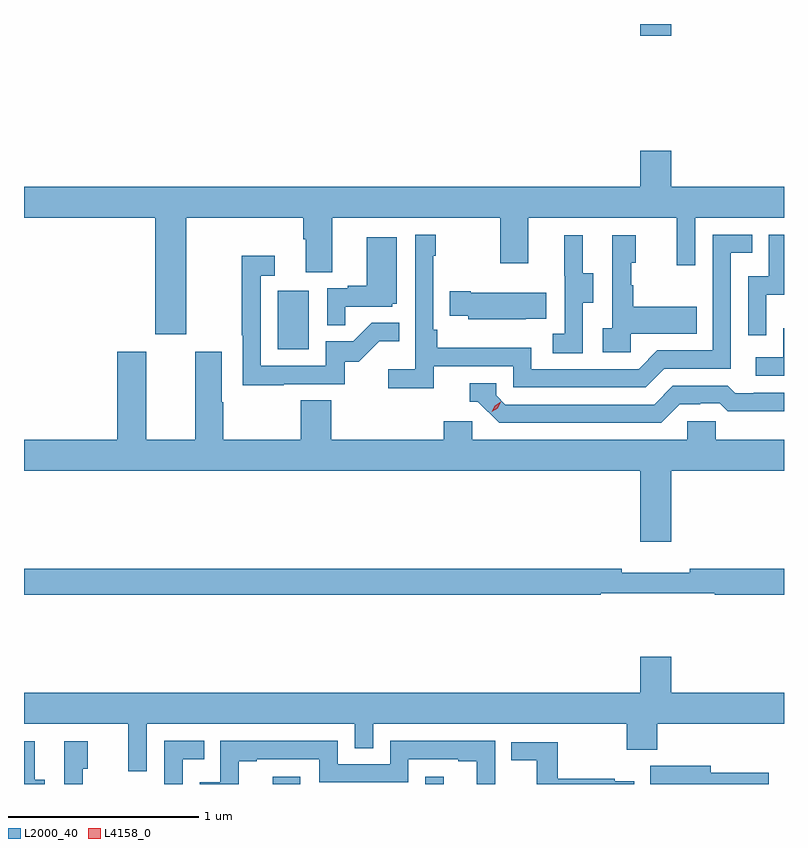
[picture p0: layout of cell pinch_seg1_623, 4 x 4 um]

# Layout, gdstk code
import gdstk
lib = gdstk.Library(unit=1e-6, precision=1e-09)
def R(c, l, rs):  # rectangles x0, y0, x1, y1
    for r in rs: c.add(gdstk.rectangle(r[:2], r[2:], *l))
def P(c, l, *ps):  # polygons
    for p in ps: c.add(gdstk.Polygon(p, *l))
L2000_40 = (2000, 40)
L4158_0 = (4158, 0)

pinch_seg1_623 = lib.new_cell('pinch_seg1_623')
R(pinch_seg1_623, L2000_40, [(1110.127,518.116,1110.271,518.155), (1110.93,518.116,1111.027,518.155), (1110.152,520.404,1110.316,520.711), (1112.06,522.054,1112.224,522.116)])
P(pinch_seg1_623, L2000_40, [(1109.671,521.096),(1110.287,521.096),(1110.287,520.984),(1110.299,520.984),(1110.299,520.81),(1110.439,520.81),(1110.439,521.096),(1111.324,521.096),(1111.324,520.857),(1111.471,520.857),(1111.471,521.096),(1112.252,521.096),(1112.252,520.847),(1112.349,520.847),(1112.349,521.096),(1112.817,521.096),(1112.817,521.26),(1112.224,521.26),(1112.224,521.449),(1112.06,521.449),(1112.06,521.26),(1108.817,521.26),(1108.817,521.096),(1109.507,521.096),(1109.507,520.482),(1109.671,520.482)],
  [(1110.974,520.314),(1111.392,520.314),(1111.392,520.203),(1112.089,520.203),(1112.188,520.302),(1112.538,520.302),(1112.538,520.911),(1112.651,520.911),(1112.651,521.007),(1112.442,521.007),(1112.442,520.398),(1112.151,520.398),(1112.052,520.299),(1111.488,520.299),(1111.488,520.411),(1110.992,520.411),(1110.992,520.507),(1110.972,520.507),(1110.972,520.895),(1110.985,520.895),(1110.985,521.008),(1110.876,521.008),(1110.876,520.3),(1110.735,520.3),(1110.735,520.198),(1110.974,520.198)],
  [(1112.724,520.691),(1112.817,520.691),(1112.817,521.007),(1112.736,521.007),(1112.736,520.788),(1112.628,520.788),(1112.628,520.479),(1112.724,520.479)],
  [(1112.01,520.487),(1112.357,520.487),(1112.357,520.627),(1112.023,520.627),(1112.023,520.742),(1112.013,520.742),(1112.013,520.86),(1112.038,520.86),(1112.038,521.005),(1111.914,521.005),(1111.914,520.514),(1111.863,520.514),(1111.863,520.389),(1112.01,520.389)],
  [(1111.758,520.648),(1111.813,520.648),(1111.813,520.803),(1111.759,520.803),(1111.759,521.005),(1111.661,521.005),(1111.661,520.791),(1111.662,520.791),(1111.662,520.487),(1111.599,520.487),(1111.599,520.384),(1111.758,520.384)],
  [(1110.509,520.629),(1110.756,520.629),(1110.756,520.644),(1110.778,520.644),(1110.778,520.993),(1110.62,520.993),(1110.62,520.738),(1110.521,520.738),(1110.521,520.725),(1110.414,520.725),(1110.414,520.531),(1110.509,520.531)],
  [(1110.185,520.221),(1110.504,520.221),(1110.504,520.338),(1110.58,520.338),(1110.687,520.445),(1110.791,520.445),(1110.791,520.544),(1110.647,520.544),(1110.549,520.446),(1110.405,520.446),(1110.405,520.317),(1110.063,520.317),(1110.063,520.791),(1110.136,520.791),(1110.136,520.897),(1109.962,520.897),(1109.962,520.477),(1109.967,520.477),(1109.967,520.216),(1110.185,520.216)],
  [(1111.457,520.565),(1111.565,520.565),(1111.565,520.702),(1111.168,520.702),(1111.168,520.71),(1111.057,520.71),(1111.057,520.58),(1111.155,520.58),(1111.155,520.562),(1111.457,520.562)],
  [(1112.817,520.516),(1112.814,520.516),(1112.814,520.362),(1112.667,520.362),(1112.667,520.266),(1112.817,520.266)],
  [(1112.224,519.764),(1112.817,519.764),(1112.817,519.928),(1112.457,519.928),(1112.457,520.026),(1112.307,520.026),(1112.307,519.928),(1111.176,519.928),(1111.176,520.026),(1111.025,520.026),(1111.025,519.928),(1110.434,519.928),(1110.434,520.136),(1110.274,520.136),(1110.274,519.928),(1109.865,519.928),(1109.865,520.124),(1109.857,520.124),(1109.857,520.39),(1109.717,520.39),(1109.717,519.928),(1109.461,519.928),(1109.461,520.39),(1109.309,520.39),(1109.309,519.928),(1108.817,519.928),(1108.817,519.764),(1112.06,519.764),(1112.06,519.39),(1112.224,519.39)],
  [(1112.269,520.116),(1112.376,520.116),(1112.376,520.119),(1112.479,520.119),(1112.521,520.077),(1112.754,520.077),(1112.754,520.079),(1112.817,520.079),(1112.817,520.176),(1112.659,520.176),(1112.659,520.173),(1112.56,520.173),(1112.521,520.212),(1112.232,520.212),(1112.133,520.113),(1111.35,520.113),(1111.302,520.161),(1111.302,520.224),(1111.163,520.224),(1111.163,520.128),(1111.206,520.128),(1111.317,520.017),(1112.17,520.017)],
  [(1111.852,519.12),(1112.452,519.12),(1112.452,519.112),(1112.817,519.112),(1112.817,519.248),(1112.32,519.248),(1112.32,519.229),(1111.964,519.229),(1111.964,519.248),(1108.817,519.248),(1108.817,519.112),(1111.852,519.112)],
  [(1109.463,518.432),(1110.558,518.432),(1110.558,518.305),(1110.654,518.305),(1110.654,518.432),(1111.99,518.432),(1111.99,518.297),(1112.15,518.297),(1112.15,518.432),(1112.817,518.432),(1112.817,518.596),(1112.224,518.596),(1112.224,518.785),(1112.06,518.785),(1112.06,518.596),(1108.817,518.596),(1108.817,518.432),(1109.366,518.432),(1109.366,518.184),(1109.463,518.184)],
  [(1109.948,518.235),(1110.043,518.235),(1110.043,518.247),(1110.372,518.247),(1110.372,518.124),(1110.84,518.124),(1110.84,518.247),(1111.103,518.247),(1111.103,518.235),(1111.199,518.235),(1111.199,518.116),(1111.296,518.116),(1111.296,518.343),(1110.744,518.343),(1110.744,518.22),(1110.468,518.22),(1110.468,518.343),(1109.85,518.343),(1109.85,518.124),(1109.742,518.124),(1109.742,518.116),(1109.948,518.116)],
  [(1109.652,518.247),(1109.765,518.247),(1109.765,518.343),(1109.556,518.343),(1109.556,518.116),(1109.652,518.116)],
  [(1109.127,518.196),(1109.152,518.196),(1109.152,518.341),(1109.028,518.341),(1109.028,518.116),(1109.127,518.116)],
  [(1108.927,518.139),(1108.873,518.139),(1108.873,518.341),(1108.817,518.341),(1108.817,518.116),(1108.927,518.116)],
  [(1112.028,518.131),(1111.925,518.131),(1111.925,518.143),(1111.627,518.143),(1111.627,518.337),(1111.381,518.337),(1111.381,518.24),(1111.516,518.24),(1111.516,518.116),(1112.028,518.116)],
  [(1112.736,518.174),(1112.431,518.174),(1112.431,518.212),(1112.113,518.212),(1112.113,518.116),(1112.736,518.116)])
P(pinch_seg1_623, L4158_0, [(1111.28,520.074),(1111.28,520.074),(1111.295,520.107),(1111.325,520.128),(1111.326,520.128),(1111.326,520.127),(1111.31,520.094),(1111.28,520.074)])

lib.write_gds('pinch_seg1_623.gds')
